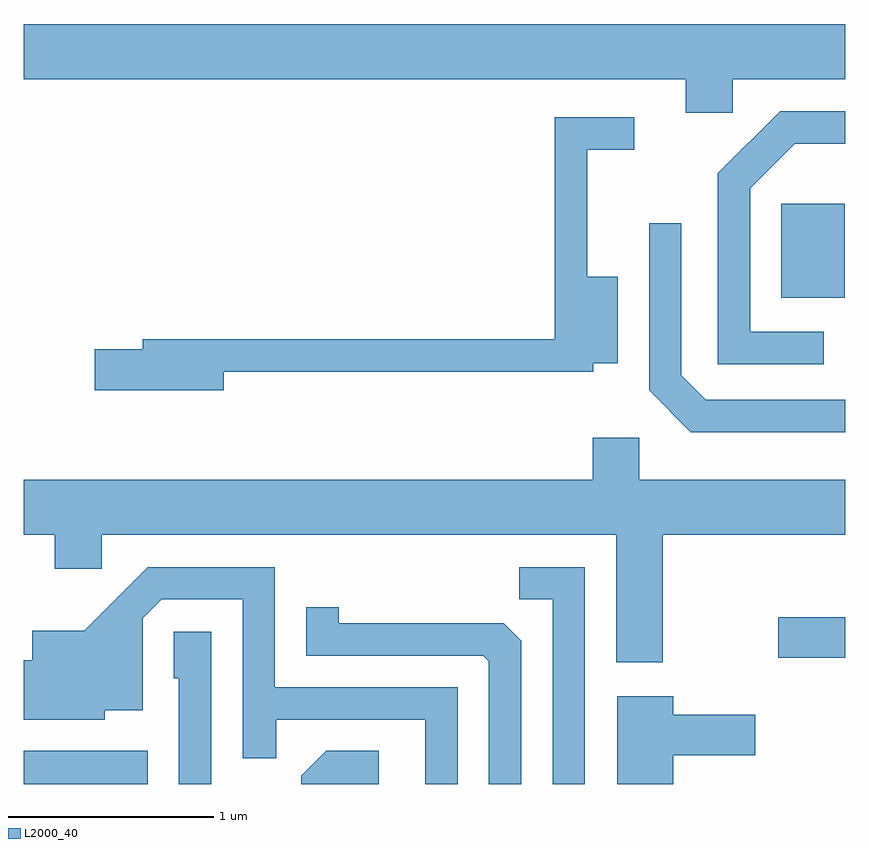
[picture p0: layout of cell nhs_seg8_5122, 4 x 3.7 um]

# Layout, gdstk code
import gdstk
lib = gdstk.Library(unit=1e-6, precision=1e-09)
def R(c, l, rs):  # rectangles x0, y0, x1, y1
    for r in rs: c.add(gdstk.rectangle(r[:2], r[2:], *l))
def P(c, l, *ps):  # polygons
    for p in ps: c.add(gdstk.Polygon(p, *l))
L2000_40 = (2000, 40)

nhs_seg8_5122 = lib.new_cell('nhs_seg8_5122')
R(nhs_seg8_5122, L2000_40, [(339.611,1806.342,340.214,1806.504), (343.286,1806.956,343.611,1807.154), (343.301,1808.711,343.609,1809.169)])
P(nhs_seg8_5122, L2000_40, [(343.064,1809.776),(343.611,1809.776),(343.611,1810.044),(339.611,1810.044),(339.611,1809.776),(342.836,1809.776),(342.836,1809.611),(343.064,1809.611)],
  [(343.508,1808.544),(343.149,1808.544),(343.149,1809.244),(343.367,1809.461),(343.611,1809.461),(343.611,1809.619),(343.294,1809.619),(342.991,1809.317),(342.991,1808.386),(343.508,1808.386)],
  [(340.584,1808.351),(342.384,1808.351),(342.384,1808.391),(342.504,1808.391),(342.504,1808.814),(342.354,1808.814),(342.354,1809.431),(342.583,1809.431),(342.583,1809.589),(342.196,1809.589),(342.196,1808.509),(340.191,1808.509),(340.191,1808.459),(339.956,1808.459),(339.956,1808.261),(340.584,1808.261)],
  [(343.611,1808.214),(342.932,1808.214),(342.814,1808.332),(342.814,1809.073),(342.656,1809.073),(342.656,1808.259),(342.859,1808.056),(343.611,1808.056)],
  [(342.724,1807.556),(343.611,1807.556),(343.611,1807.824),(342.609,1807.824),(342.609,1808.029),(342.381,1808.029),(342.381,1807.824),(339.611,1807.824),(339.611,1807.556),(339.761,1807.556),(339.761,1807.391),(339.989,1807.391),(339.989,1807.556),(342.496,1807.556),(342.496,1806.936),(342.724,1806.936)],
  [(341.724,1806.814),(340.834,1806.814),(340.834,1807.399),(340.214,1807.399),(339.904,1807.089),(339.651,1807.089),(339.651,1806.944),(339.611,1806.944),(339.611,1806.656),(340.004,1806.656),(340.004,1806.701),(340.189,1806.701),(340.189,1807.149),(340.282,1807.241),(340.676,1807.241),(340.676,1806.468),(340.839,1806.468),(340.839,1806.656),(341.566,1806.656),(341.566,1806.342),(341.724,1806.342)],
  [(342.344,1807.399),(342.023,1807.399),(342.023,1807.241),(342.186,1807.241),(342.186,1806.342),(342.344,1806.342)],
  [(342.034,1807.039),(341.949,1807.124),(341.144,1807.124),(341.144,1807.203),(340.986,1807.203),(340.986,1806.966),(341.849,1806.966),(341.876,1806.939),(341.876,1806.342),(342.034,1806.342)],
  [(340.524,1807.084),(340.341,1807.084),(340.341,1806.856),(340.366,1806.856),(340.366,1806.342),(340.524,1806.342)],
  [(342.774,1806.481),(343.174,1806.481),(343.174,1806.679),(342.774,1806.679),(342.774,1806.769),(342.501,1806.769),(342.501,1806.342),(342.774,1806.342)],
  [(341.339,1806.504),(341.084,1806.504),(340.961,1806.382),(340.961,1806.342),(341.339,1806.342)])

lib.write_gds('nhs_seg8_5122.gds')
